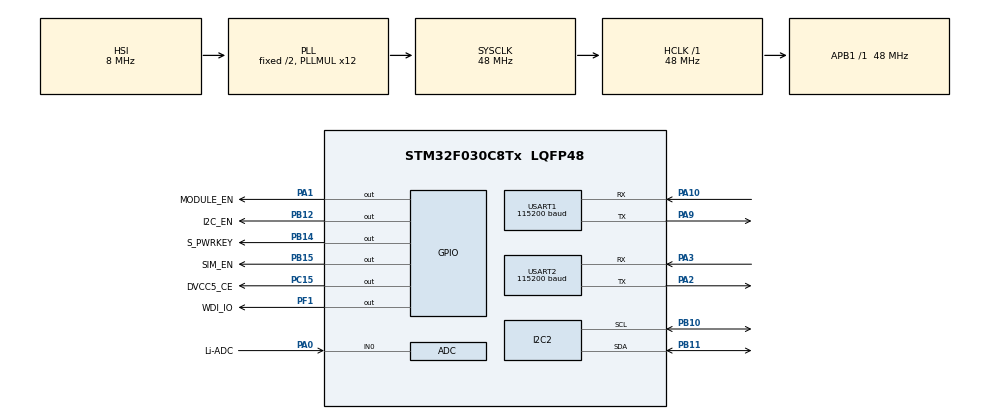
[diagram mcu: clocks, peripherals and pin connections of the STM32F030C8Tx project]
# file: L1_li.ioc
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Dma.Request0=USART2_RX
Dma.Request1=USART1_RX
Dma.USART1_RX.1.Direction=DMA_PERIPH_TO_MEMORY
Dma.USART1_RX.1.Instance=DMA1_Channel3
Dma.USART1_RX.1.MemDataAlignment=DMA_MDATAALIGN_BYTE
Dma.USART1_RX.1.MemInc=DMA_MINC_ENABLE
Dma.USART1_RX.1.Mode=DMA_CIRCULAR
Dma.USART1_RX.1.PeriphDataAlignment=DMA_PDATAALIGN_BYTE
Dma.USART1_RX.1.PeriphInc=DMA_PINC_DISABLE
Dma.USART1_RX.1.Priority=DMA_PRIORITY_MEDIUM
Dma.USART2_RX.0.Direction=DMA_PERIPH_TO_MEMORY
Dma.USART2_RX.0.Instance=DMA1_Channel5
Dma.USART2_RX.0.MemDataAlignment=DMA_MDATAALIGN_BYTE
Dma.USART2_RX.0.MemInc=DMA_MINC_ENABLE
Dma.USART2_RX.0.Mode=DMA_CIRCULAR
Dma.USART2_RX.0.PeriphDataAlignment=DMA_PDATAALIGN_BYTE
Dma.USART2_RX.0.PeriphInc=DMA_PINC_DISABLE
Dma.USART2_RX.0.Priority=DMA_PRIORITY_MEDIUM
I2C2.Timing=0x20303E5D
Mcu.Family=STM32F0
Mcu.Name=STM32F030C8Tx
Mcu.Package=LQFP48
NVIC.DMA1_Channel2_3_IRQn=true\:0\:0\:false
NVIC.DMA1_Channel4_5_IRQn=true\:0\:0\:false
NVIC.RTC_IRQn=true\:0\:0\:false
NVIC.TIM1_BRK_UP_TRG_COM_IRQn=true\:0\:0\:false
PA0.GPIO_Label=Li-ADC
PA0.GPIO_Mode=GPIO_MODE_ANALOG
PA0.GPIO_PuPd=GPIO_NOPULL
PA0.Mode=IN0
PA0.Signal=ADC_IN0
PA1.GPIO_Label=MODULE_EN
PA1.GPIO_ModeDefaultOutputPP=GPIO_MODE_OUTPUT_PP
PA1.GPIO_PuPd=GPIO_NOPULL
PA1.GPIO_Speed=GPIO_SPEED_LOW
PA1.Signal=GPIO_Output
PA10.Mode=Asynchronous
PA10.Signal=USART1_RX
PA13.Mode=Serial-WireDebug
PA13.Signal=SYS_SWDIO
PA14.Mode=Serial-WireDebug
PA14.Signal=SYS_SWCLK
PA2.Mode=Asynchronous
PA2.Signal=USART2_TX
PA3.Mode=Asynchronous
PA3.Signal=USART2_RX
PA9.Mode=Asynchronous
PA9.Signal=USART1_TX
PB10.Mode=I2C
PB10.Signal=I2C2_SCL
PB11.Mode=I2C
PB11.Signal=I2C2_SDA
PB12.GPIO_Label=I2C_EN
PB12.GPIO_ModeDefaultOutputPP=GPIO_MODE_OUTPUT_PP
PB12.GPIO_PuPd=GPIO_NOPULL
PB12.GPIO_Speed=GPIO_SPEED_LOW
PB12.Signal=GPIO_Output
PB14.GPIO_Label=S_PWRKEY
PB14.GPIO_ModeDefaultOutputPP=GPIO_MODE_OUTPUT_PP
PB14.GPIO_PuPd=GPIO_NOPULL
PB14.GPIO_Speed=GPIO_SPEED_LOW
PB14.Signal=GPIO_Output
PB15.GPIO_Label=SIM_EN
PB15.GPIO_ModeDefaultOutputPP=GPIO_MODE_OUTPUT_PP
PB15.GPIO_PuPd=GPIO_NOPULL
PB15.GPIO_Speed=GPIO_SPEED_LOW
PB15.Signal=GPIO_Output
PC15-OSC32_OUT.GPIO_Label=DVCC5_CE
PC15-OSC32_OUT.GPIO_ModeDefaultOutputPP=GPIO_MODE_OUTPUT_PP
PC15-OSC32_OUT.GPIO_PuPd=GPIO_NOPULL
PC15-OSC32_OUT.GPIO_Speed=GPIO_SPEED_LOW
PC15-OSC32_OUT.Signal=GPIO_Output
PF1-OSC_OUT.GPIO_Label=WDI_IO
PF1-OSC_OUT.GPIO_ModeDefaultOutputPP=GPIO_MODE_OUTPUT_PP
PF1-OSC_OUT.GPIO_PuPd=GPIO_NOPULL
PF1-OSC_OUT.GPIO_Speed=GPIO_SPEED_LOW
PF1-OSC_OUT.Signal=GPIO_Output
ProjectManager.TargetToolchain=MDK-ARM V4
RCC.AHBFreq_Value=48000000
RCC.APB1Freq_Value=48000000
RCC.APB1TimFreq_Value=48000000
RCC.HCLKFreq_Value=48000000
RCC.PLLMUL=RCC_PLL_MUL12
RCC.SYSCLKFreq_VALUE=48000000
RCC.SYSCLKSource=RCC_SYSCLKSOURCE_PLLCLK
RTC.AlarmMask=RTC_ALARMMASK_DATEWEEKDAY
TIM1.Period=99
TIM1.Prescaler=47
USART1.BaudRate=115200
USART2.BaudRate=115200
VP_RTC_VS_RTC_Alarm_A_Intern.Mode=Alarm A
VP_TIM1_VS_ClockSourceINT.Mode=Internal
board=L1_li

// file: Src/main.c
/**
  ******************************************************************************
  * File Name          : main.c
  * Description        : Main program body
  ******************************************************************************
  *
  * COPYRIGHT(c) 2015 STMicroelectronics
  *
  * Redistribution and use in source and binary forms, with or without modification,
  * are permitted provided that the following conditions are met:
  *   1. Redistributions of source code must retain the above copyright notice,
  *      this list of conditions and the following disclaimer.
  *   2. Redistributions in binary form must reproduce the above copyright notice,
  *      this list of conditions and the following disclaimer in the documentation
  *      and/or other materials provided with the distribution.
  *   3. Neither the name of STMicroelectronics nor the names of its contributors
  *      may be used to endorse or promote products derived from this software
  *      without specific prior written permission.
  *
  * THIS SOFTWARE IS PROVIDED BY THE COPYRIGHT HOLDERS AND CONTRIBUTORS "AS IS"
  * AND ANY EXPRESS OR IMPLIED WARRANTIES, INCLUDING, BUT NOT LIMITED TO, THE
  * IMPLIED WARRANTIES OF MERCHANTABILITY AND FITNESS FOR A PARTICULAR PURPOSE ARE
  * DISCLAIMED. IN NO EVENT SHALL THE COPYRIGHT HOLDER OR CONTRIBUTORS BE LIABLE
  * FOR ANY DIRECT, INDIRECT, INCIDENTAL, SPECIAL, EXEMPLARY, OR CONSEQUENTIAL
  * DAMAGES (INCLUDING, BUT NOT LIMITED TO, PROCUREMENT OF SUBSTITUTE GOODS OR
  * SERVICES; LOSS OF USE, DATA, OR PROFITS; OR BUSINESS INTERRUPTION) HOWEVER
  * CAUSED AND ON ANY THEORY OF LIABILITY, WHETHER IN CONTRACT, STRICT LIABILITY,
  * OR TORT (INCLUDING NEGLIGENCE OR OTHERWISE) ARISING IN ANY WAY OUT OF THE USE
  * OF THIS SOFTWARE, EVEN IF ADVISED OF THE POSSIBILITY OF SUCH DAMAGE.
  *
  ******************************************************************************
  */
#include "stm32f0xx_hal.h"
#include "adc.h"
#include "dma.h"
#include "i2c.h"
#include "rtc.h"
#include "tim.h"
#include "usart.h"
#include "gpio.h"

/* USER CODE BEGIN Includes */

#include "Console.h"
#include "Tick.h"
#include "Thread.h"
#include "FPE.h"
#include "DelayCall.h"
#include "Button.h"
#include "CJSON.h"

#include "sim808.h"
#include "control.h"
#include "fpe.h"

#include "stdlib.h" //malloc
#include "math.h"  //fmin fmax

#include "md5.h"
/* USER CODE END Includes */

/* USER CODE BEGIN PV */
/* Private variables ---------------------------------------------------------*/

uint8_t g_main_consoleBuffer[0x100];
uint8_t g_main_dustBuffer[8];
uint8_t g_main_cmdBuffer[64];
float g_main_start_battery_voltage=0;      //2015-12-7, locate in line 161, before pm25,sim808 start.
float g_main_end_battery_voltage=0;        //2015-12-7 ,locate in 'do_sleep' function, after pm25,sim808 stop.
float g_main_battery_voltage=0;
int g_main_charge_flag = 0;

char defaultId[] = "L1";
char deviceId[(32+16)]={0};

uint8_t g_main_uid[8] = {0};
char g_main_uid_suffix[5] = {0};

#define NUMBER_APN_INFO_LENGTH_MAX 17
char g_main_apn[NUMBER_APN_INFO_LENGTH_MAX] = {0};
char g_main_user[NUMBER_APN_INFO_LENGTH_MAX] = {0};
char g_main_pass[NUMBER_APN_INFO_LENGTH_MAX] = {0};
uint8_t g_main_setApnMask = 0;

/* USER CODE END PV */

void SystemClock_Config(void);

/* USER CODE BEGIN PFP */
/* Private function prototypes -----------------------------------------------*/

void battery_update(void);
void feedExdog(void);
void startAlarm(uint16_t second);
void enable_pm2d5(void);
void disable_pm2d5(void);
void update_gps(void);
void check_gprs(void);

void check_action_if_done(void);
void println(char* string);

static inline void ME2139_init(void);
//char *sim808_jsoninfo_creat(void);
static inline void pm2d5_receive_int(void);
void sim808_update(void);
void pm25_update(void);
void do_sleep(void);
void check_sleep(void);

void hts221_init(void);
void th_check_end(void);
void th_update(void);
static void hts221_enable(void);
static void hts221_disable(void);
void newUploadInterval_init(void);
void battery_charge_start_test(int times, uint32_t delay);

void optData2Usart2(void);
void updateSim808Status(void);

#define DEVICE_VERSION "L1" //20161123 changed
#define FPE_UID_ADDRESS 0x00110000

/* USER CODE END PFP */

/* USER CODE BEGIN 0 */

bool g_main_gps_updated = false;
bool g_main_pm25_stable = false;
bool g_main_startSleep = false;

//20160601
bool g_main_sim808_inited = false;
//20160601

bool g_main_gps_got = false;
bool g_main_http_action_got = false;
bool g_main_http_action_done = false;

//char* g_main_udpAddressDefault = "hwlantian.com";//"172.28.50.1";//
char* g_main_udpAddressDefault = "sensor.new.hwlantian.com";//"172.28.50.1";//  20161123 new server
char* g_main_udpAddress = NULL;
uint16_t g_main_udpPortDefault = 59830;
uint16_t g_main_udpPort = 0;

uint32_t g_main_uploadDataInterval = UPLOAD_DATA_INTERVAL_MS;

typedef struct
{
	uint32_t batteryFlag;

	uint32_t uploadInterval;
	uint32_t uploadIntervalEnsure;

	double longitude;
	double latitude;
	double gpsTime;
	uint32_t gpsDataEnsure;
	uint32_t gpsNotUpdateCnt;

//	Sim900aStatus_t sim900aStatus;
}flashStored_Info_t;

flashStored_Info_t g_flashStored_Info =
{
	.batteryFlag = RANGE_START_BATTERY_LOW,
	.uploadInterval = 1000,
	.uploadIntervalEnsure = 0,	//not ensured, ensure -> 0x0a0a
	.longitude = 0,
	.latitude = 0,
	.gpsTime = 0,
	.gpsDataEnsure = 0,
	.gpsNotUpdateCnt = 0,

};

volatile float g_main_temperature = 0;
volatile float g_main_humidity = 0;
int32_t g_main_pm25 = 0;
int g_main_uploadTime = 0;

void loadFlashData(void)
{

	g_flashStored_Info.batteryFlag = fpe_read(ADDRESS_BATTERY_RANGE);

	g_flashStored_Info.uploadInterval = fpe_read(ADDRESS_UPLOAD_INTERVAL_VALUE);
	g_flashStored_Info.uploadIntervalEnsure = fpe_read(ADDRESS_UPLOAD_INTERVAL_ENSURE);

	g_flashStored_Info.longitude = fpe_read(ADDRESS_VALUE_GPS_LONGITUDE)/1000000.0;
	g_flashStored_Info.latitude = fpe_read(ADDRESS_VALUE_GPS_LATITUDE)/1000000.0;
	g_flashStored_Info.gpsTime = fpe_read(ADDRESS_VALUE_GPS_GPSTIME1)*1000000.0 + fpe_read(ADDRESS_VALUE_GPS_GPSTIME2);
	g_flashStored_Info.gpsDataEnsure = fpe_read(ADDRESS_GPS_UPDATED_ENSURE);
	g_flashStored_Info.gpsNotUpdateCnt = fpe_read(ADDRESS_CNT_GPS_NOUPDATE_TIME);
}

#define getSetting(name) (name?name:name##Default)
void mainThread(void)
{

	sim808_Info_t sim808_Info = sim808_GetInfo();

//		( (g_main_pm25_stable || tick_ms()>MAX_PM25_MS)	&& ( g_main_gps_updated || tick_ms()>MAX_GPS_MS) )
	if( !(//wait gps new data until timeout,when time out,we use data in flash if exist
		( (g_main_pm25_stable || tick_ms()>MAX_PM25_MS)	&& ( sim808_Info.gpsUpdated || tick_ms()>MAX_GPS_MS) )\
	||(tick_ms()>MAX_WAKE_MS -20000)
	) )
	{
		return;
	}

	//th_update();

	cJSON* json = cJSON_CreateObject();
	if (json)
	{
		deviceId[0] = '\0';
		sprintf(deviceId,"L1");  //2015-12-7
		if(strlen(g_main_uid_suffix))
		{
			sprintf(deviceId,"L1-");  //2015-12-7
			for (uint8_t i=0; i<8; i++)
			{
				sprintf(deviceId+strlen(deviceId),"%02x", g_main_uid[i]);  //2015-12-7
			}
			sprintf(deviceId+strlen(deviceId),"%.4s", g_main_uid_suffix);  //2015-12-7
		}

		cJSON_AddStringToObject(json,"devId",deviceId);
		cJSON_AddStringToObject(json,"ver",DEVICE_VERSION);

		cJSON_AddNumberToObject(json,"pm2d5",g_main_pm25/100.0);
		cJSON_AddNumberToObject(json,"temp",g_main_temperature);
		cJSON_AddNumberToObject(json,"hum",g_main_humidity);

		if (g_main_gps_updated)
		{
			cJSON_AddNumberToObject(json,"lon",(float)sim808_Info.longitude);
			cJSON_AddNumberToObject(json,"lat",(float)sim808_Info.latitude);
			cJSON_AddNumberToObject(json,"timestamp",sim808_Info.gpsTime);
		}
		cJSON_AddNumberToObject(json,"start_charge",g_main_start_battery_voltage); //2016-1-18
		cJSON_AddNumberToObject(json,"systemTick",tick_ms());

		char * str = cJSON_PrintUnformatted(json);
		cJSON_Delete(json);

		if (str)
		{
			uint16_t length = strlen(str);
			char* buffer = malloc(length+3);//20160808
			if (buffer)
			{
				sprintf(buffer,"%s\n%c",str,0x1a);//20160808
				char* address = getSetting(g_main_udpAddress);//?g_main_udpAddress:g_main_udpAddressDefault;
				uint16_t port = getSetting(g_main_udpPort);//g_main_udpPort!=0?g_main_udpPort:g_main_udpPortDefault;
				sim808_udp(buffer,address,port);
				free(buffer);
			}
			free(str);
		}
	}

}

static void updateStringSetting(char* value, char** pCurrent)
{
	if (*pCurrent)
	{
		free(*pCurrent);
	}
	if (strlen(value) == 0)
	{
		*pCurrent = NULL;
	}
	else
	{
		char* copy = malloc(strlen(value)+1);
		if (copy)
		{
			strcpy(copy,value);
			*pCurrent = copy;
		}
	}
}

void sim808_HandleResponse(void)
{
	char* receive = sim808_getReceiveString();
//	if (!receive)
//	{
//		if(tick_ms() - g_main_lastWifiTick < (UINT32_MAX>>1))
//		{
//			if (!esp8266_smarting())
//			{
//				esp8266_reset();
//				g_main_lastWifiTick = tick_ms() + RESET_WHILE_NO_DATEGET;
//			}
//		}
//	}
//	else
//	{
//		g_main_lastWifiTick = tick_ms() + RESET_WHILE_NO_DATEGET;
//	}
	if (receive)
	{
		cJSON* json = cJSON_Parse(receive);
		if(json)
		{
//			g_main_lastResponseTick = tick_ms();
			cJSON* child;
			child = cJSON_GetObjectItem(json,"udpAddress");
			if (child)
			{
				updateStringSetting(child->valuestring, &g_main_udpAddress);
			}
			child = cJSON_GetObjectItem(json,"udpPort");
			if (child)
			{
				g_main_udpPort = child->valueint;
			}

			child = cJSON_GetObjectItem(json,"setInterval");
			uint32_t interval = 0;
			if (child)
			{
				interval = child->valueint;//1 to 10s
			}
			if (interval>1000)
			{
//				interval = interval*SERVER_INTERVAL_MULTIPLE; //server unit (s) to  local unit (ms)
				if (interval != g_main_uploadDataInterval)// || g_main_wifi_status != WIFI_CONNECT)
				{
					g_main_uploadDataInterval = interval;
					fpe_write(ADDRESS_UPLOAD_INTERVAL_VALUE, ( interval ) );
					fpe_write(ADDRESS_UPLOAD_INTERVAL_ENSURE, FLAG_FLASH_DATA_ENSURE);

				//	g_main_wifi_getDelay = 5000;
				//	g_main_wifi_triggerTick = tick_ms()+g_main_uploadDataInterval+g_main_wifi_getDelay;
				}
			}
			cJSON_Delete(json);
		}
		free(receive);

		g_main_startSleep = true;	//set system to sleep mode
	}
}

void sim808_UpdateGPS(void)
{

//	if(g_main_gps_updated==true || g_main_gps_got == true || tick_ms()>MAX_GPS_MS)
//	{
//		return;
//	}

uint32_t tick = tick_ms();
	uint32_t compare = MAX_GPS_MS;
	if(tick>MAX_GPS_MS)
	{
		return;
	}

	sim808_Info_t sim808_Info = sim808_GetInfo();

	if(sim808_Info.gpsUpdated) //no need to update,so we just return
	{
		g_main_gps_updated = true;
		return;
	}

	uint32_t gpsMaxIntervalCnt = GPS_INTERVAL_MS/g_main_uploadDataInterval;	//updated by main work interval, 1 time cnt++;

	uint32_t gpsNotUpdateCnt = g_flashStored_Info.gpsNotUpdateCnt;
	uint32_t gpsDataEnsure = g_flashStored_Info.gpsDataEnsure;

	if(gpsDataEnsure == FLAG_FLASH_DATA_ENSURE)
	{
//		sim808_Info_t sim808_Info;

		sim808_Info.gpsTime = g_flashStored_Info.gpsTime;
		sim808_Info.latitude = g_flashStored_Info.latitude;
		sim808_Info.longitude = g_flashStored_Info.longitude;
		if(gpsNotUpdateCnt < gpsMaxIntervalCnt) //data not need update
		{
			sim808_Info.gpsUpdated = true;
		}
		else	//data need update,not update time over GPS_INTERVAL_MS,but before data update,we still use old data
		{
			sim808_Info.gpsUpdated = false;
		}
		sim808_SetGpsInfo(sim808_Info);
		g_main_gps_updated = true; //use  data in flash,although maybe outdate,we may can't get new gps data
	}

//	sim808_Info = sim808_GetInfo();

	if(!sim808_Info.gpsUpdated)
	{
		sim808_UpdateGPSStatus();

		sim808_Info = sim808_GetInfo();

		if(sim808_Info.gpsUpdated)
		{
					/*handle, save gps value if it had been got, value is mutiplied by 1000000 to convert to uint32_t. */
			fpe_write(ADDRESS_VALUE_GPS_LATITUDE, sim808_Info.latitude*1000000);
			fpe_write(ADDRESS_VALUE_GPS_LONGITUDE, sim808_Info.longitude*1000000);
	//		fpe_write(0x011c, g_main_time);
			__IO uint32_t gpsTimePart1 = (sim808_Info.gpsTime)/1000000;
			fpe_write(ADDRESS_VALUE_GPS_GPSTIME1, gpsTimePart1);
			__IO uint32_t gpsTimePart2 = sim808_Info.gpsTime - 1000000*gpsTimePart1;
			fpe_write(ADDRESS_VALUE_GPS_GPSTIME2, gpsTimePart2 );

			fpe_write(ADDRESS_GPS_UPDATED_ENSURE, FLAG_FLASH_DATA_ENSURE); //ensure flash data is ok

			//
			gpsNotUpdateCnt = 0;
			fpe_write(ADDRESS_CNT_GPS_NOUPDATE_TIME, gpsNotUpdateCnt);

			loadFlashData();
			/*end save.*/
		}
	}

//	if(sim808_Info.gpsUpdated)
//	{
//		g_main_gps_updated = true;
//	}

}

uint8_t g_main_factoryMode = 1;
console_t* g_mainConsole = NULL;
void reset(consoleCommand_t* cc)
{
	//console_deleteCommand(cc);
	NVIC_SystemReset();
}

void consoleStuff(void)
{
//	if (tick_ms()<8000 || g_main_factoryMode)
	if (tick_ms()<8000)
	{
		console_tick();
		console_run();
		if(console_clearAllCommand(g_mainConsole))
		{
			//TransmitString("Command error\r\n");
		}

	}
	else
	{
		HAL_UART_DMAStop(&huart2);
		HAL_UART_Receive_DMA(&huart2,g_main_dustBuffer,sizeof(g_main_dustBuffer));
		enable_pm2d5();
		g_main_factoryMode = 0;
	}

}

static void TransmitChar(char ch)
{
	USART2->TDR = (ch & (uint8_t)0xFF);
	while((USART2->ISR&UART_FLAG_TC)==0)
		;
}
void TransmitString(char * input)
{
	while(1)
	{
		char ch = *(input++);
		if (ch == '\0')
		{
			break;
		}
		TransmitChar(ch);
	}
}
void TransmitBytes(uint8_t *buffer, uint16_t size)
{
	for( uint16_t i = 0; i<size; i++)
	{
		uint8_t ch = *(buffer+i);
		TransmitChar(ch);
	}
}
void TransmitDec(uint32_t input)
{
	uint32_t quotient = 0;
	uint32_t divisor = 1000000000UL;
	uint8_t RightJustfy = 1;
	uint8_t showFirstZeros = 0;
	while(divisor>0)
	{
		quotient = (input)/divisor;
		if (quotient>0 || divisor == 1 || RightJustfy)
		{
			char ch = quotient + '0';
			if ((!showFirstZeros && quotient == 0) && divisor != 1)
			{
				ch = 0x20;
			}
			else
			{
				showFirstZeros = 1;
			}
			TransmitChar(ch);
			input -= quotient*divisor;
			RightJustfy = 1;
		}
		divisor/=10;
	}
}
void TransmitHex(uint32_t input)
{
	for (uint16_t i = 0; i<8; i++)
	{
		uint8_t index;
		index = (input >> ((7-i)<<2))&0x0f;
		uint8_t ch;
		if(index >9)
		{
			ch = index - 10 + 'A';
		}
		else
		{
			ch = index + '0';
		}
		TransmitChar(ch);
	}
}

void factoryMode(consoleCommand_t* cc)
{
	stringList_t* sl = cc->first;
	if (sl &&sl->next)
	{
		uint32_t value = atol(sl->next->string);
		g_main_factoryMode = value;

	}
	TransmitString("factoryMode: ");
	TransmitHex(g_main_factoryMode);
	//TransmitHex(g_correctThreshold);
	TransmitString("\n");
}

void factorySetUid(consoleCommand_t* cc)
{
	stringList_t* sl = cc->first;
	if (sl &&sl->next)
	{

		if (sl->next->string[0] == '?')
		{
			for (uint8_t i=0 ; i<8 ; i++)
			{
				g_main_uid[i]=fpe_readOr(FPE_FACTORY_UID+i,0);
			}
			uint32_t id[2] = {0};
			for(uint8_t i=0; i<2; i++)
			{
				id[i] = (g_main_uid[i*4]<<24)+(g_main_uid[i*4+1]<<16)+(g_main_uid[i*4+2]<<8)+(g_main_uid[i*4+3]<<0);
			}
			TransmitHex(id[0]);
			TransmitHex(id[1]);
//			TransmitBytes(g_main_uid,8);
			TransmitString("\n");
		}
		else if (strlen(sl->next->string) == 16)
		{

			uint8_t idBuffer[16];
			MD5_CTX md5;
			MD5Init(&md5);
			MD5Update(&md5,(unsigned char *)(sl->next->string),strlen(sl->next->string));
//			MD5Update(&md5,(unsigned char *)(idString),strlen(idString));
			MD5Final(&md5,idBuffer);
//			strcpy(g_main_uid_suffix,sl->next->string);
			for (uint8_t i=4 ; i<12 ; i++)
			{
				fpe_write(FPE_FACTORY_UID+i-4,idBuffer[i]);

			}
			for (uint8_t i =0;i<4;i++)
			{
				fpe_write(FPE_FACTORY_UID_STRING+i,*((sl->next->string)+i+12));
				g_main_uid_suffix[i] = *((sl->next->string)+i+12);
			}
			for (uint8_t i=0 ; i<8 ; i++)
			{
				g_main_uid[i] = idBuffer[i+4];
			}

			TransmitString("uidReceived:");
			TransmitString(sl->next->string);
			TransmitString("\n");
		//	fpe_write(FPE_FACTORY_UID+1,g_main_uid);
		}

		//TransmitHex(g_correctThreshold);

	}
	//console_deleteCommand(cc);
}

void factorySetAPN(consoleCommand_t* cc)
{
	stringList_t* sl = cc->first;
	uint8_t lenAPN = strlen(sl->next->string);
	uint8_t lenUser = strlen(sl->next->next->string);
	uint8_t lenPass = strlen(sl->next->next->next->string);
	if(lenAPN==1 && sl->next->string[0]=='0')
	{
		fpe_write(FPE_CUSTOM_APN,0);
	}
	if(lenUser==1 && sl->next->next->string[0]=='0')
	{
		fpe_write(FPE_CUSTOM_USER,0);
	}
	if(lenPass==1 && sl->next->next->next->string[0]=='0')
	{
		fpe_write(FPE_CUSTOM_PASS,0);
	}
	if (sl &&sl->next && lenAPN<NUMBER_APN_INFO_LENGTH_MAX && lenAPN>1)
	{
		fpe_writeString(FPE_CUSTOM_APN,sl->next->string);
		for(uint8_t i=0; i<lenAPN; i++)
		{
			g_main_apn[i] = sl->next->string[i];
		}
	}
	if(sl &&sl->next->next && lenUser<NUMBER_APN_INFO_LENGTH_MAX  && lenUser>1)
	{
		fpe_writeString(FPE_CUSTOM_USER ,sl->next->next->string);
		for(uint8_t i=0; i<lenUser; i++)
		{
			g_main_user[i] = sl->next->next->string[i];
		}
	}
	if(sl &&sl->next->next->next && lenPass<NUMBER_APN_INFO_LENGTH_MAX  && lenPass>1)
	{
		fpe_writeString(FPE_CUSTOM_PASS,sl->next->next->next->string);
		for(uint8_t i=0; i<lenPass; i++)
		{
			g_main_pass[i] = sl->next->next->next->string[i];
		}
	}
}

void LoadId(void)
{
	for (uint8_t i=0 ; i<8 ; i++)
	{
		g_main_uid[i]=fpe_readOr(FPE_FACTORY_UID+i,0);
//		g_main_uid[i]=fpe_read(FPE_FACTORY_UID+i);
	}

	for (uint8_t i=0 ; i<4 ; i++)
	{
		g_main_uid_suffix[i]=fpe_readOr(FPE_FACTORY_UID_STRING+i,'\0');
//		g_main_uid_suffix[i]=fpe_read(FPE_FACTORY_UID_STRING+i);
	}
//	g_main_uid_suffix[4] = '\0';
}
/* USER CODE END 0 */

int main(void)
{

  /* MCU Configuration----------------------------------------------------------*/

  /* Reset of all peripherals, Initializes the Flash interface and the Systick. */
  HAL_Init();

  /* Configure the system clock */
  SystemClock_Config();

	if (__HAL_PWR_GET_FLAG(PWR_FLAG_SB) != RESET)    //检查AD标志
  {
    __HAL_PWR_CLEAR_FLAG(PWR_FLAG_SB);    //清除标志位
  }

     /* Initialize all configured peripherals */
  MX_GPIO_Init();
  MX_DMA_Init();
  MX_ADC_Init();
  MX_I2C2_Init();
  MX_RTC_Init();
  MX_TIM1_Init();
  MX_USART1_UART_Init();
  MX_USART2_UART_Init();

  /* USER CODE BEGIN 2 */

	ME2139_init();

	tick_init(&htim1);
	thread_init(0,tick_ms());  //开启毫秒级的线程？
//	g_main_console = console_init(&huart1,g_main_consoleBuffer,sizeof(g_main_consoleBuffer));
	fpe_init(62,63); //初始化FLASH
	thread_quickAdd(0,delayCall_run,1,0,0);  //线程加入 延时  1毫秒
	tick_add(delayCall_tick,10);
	tick_start();

	LoadId();

	delayCall_call(feedExdog,1000,150,1);////////////*******************************annotate this in 2015-12-15.*************************///////////////
	delayCall_call(optData2Usart2,1000,350,1);////////////*******************************move this in 2015-12-15.*************************///////////////
	//看门狗程序   1秒喂狗

//检测电池电压.
	battery_charge_start_test(20,10); //2015-12-7. //2016-11-24 chagne(20,100)->(20,10)
//	printf("%f",g_main_start_battery_voltage);

//***********************2015-12-10 charge code start*****************************//
	if(g_main_start_battery_voltage < RANGE_START_BATTERY_LOW)
	{
		fpe_write(ADDRESS_BATTERY_RANGE, RANGE_START_BATTERY_LOW);
	}
	else if(g_main_start_battery_voltage > RANGE_START_BATTERY_NORMAL)
	{
		fpe_write(ADDRESS_BATTERY_RANGE, RANGE_START_BATTERY_NORMAL);
	}

	loadFlashData(); //20160809
	if(g_flashStored_Info.uploadIntervalEnsure == FLAG_FLASH_DATA_ENSURE)
	{
		g_main_uploadDataInterval = g_flashStored_Info.uploadInterval;
	}
	if( g_flashStored_Info.batteryFlag == RANGE_START_BATTERY_LOW )
	{
		do_sleep();
	}

	pm2d5_receive_int();
//	enable_pm2d5();

	thread_quickAdd(0,pm25_update,1000,0,0);////////////*******************************move this in 2015-12-15.*************************///////////////
//	HAL_Delay(1000);
	hts221_enable();//I2C enable.
//	while(1);
	HAL_Delay(100);//wait to set PB12 port high to enable I2C, this delay is integrant !!!.等待PB12 拉高使能I2C
	hts221_init();//hts221.
	HAL_Delay(100);
	thread_quickAdd(0,th_update,1000,0,0);////////////*******************************move this in 2015-12-15.*************************///////////////

//	newUploadInterval_init();
	fpe_readString(FPE_CUSTOM_APN, g_main_apn, NUMBER_APN_INFO_LENGTH_MAX);
	fpe_readString(FPE_CUSTOM_USER, g_main_user, NUMBER_APN_INFO_LENGTH_MAX);
	fpe_readString(FPE_CUSTOM_PASS, g_main_pass, NUMBER_APN_INFO_LENGTH_MAX);

	sim808_init(&huart1);//wait to init successfully.
	//setUid

	g_mainConsole = console_init( &huart2,g_main_cmdBuffer,sizeof(g_main_cmdBuffer));
	console_addListener(g_mainConsole,"reset",reset,0);
	console_addListener(g_mainConsole,"factoryMode",factoryMode,0);
	console_addListener(g_mainConsole,"uid",factorySetUid,0);
	console_addListener(g_mainConsole,"apn",factorySetAPN,0);
	console_printf(g_mainConsole,"systemStart\r\n");
	console_clearAllCommand(g_mainConsole);

	thread_quickAdd(0,sim808_HandleResponse,100,0,0);
	thread_quickAdd(0,sim808_UpdateGPS,1000,0,0);			//更新 gps
	thread_quickAdd(0,sim808_UpdateStatus,1000,0,0);		//根据电池电压 检查是否 进入睡眠状态. 电压低于 3.4 V 进入睡眠状态.//是否上传成功，若成功 ，则进入休眠.
	thread_quickAdd(0,mainThread,5000,0,0);
	thread_quickAdd(0,sim808_run,10,0,0);

	thread_quickAdd(0,consoleStuff,10,0,0);

	thread_quickAdd(0,feedExdog,500,0,0);////////////*******************************annotate this in 2015-12-15.*************************///////////////
//看门狗
//	thread_quickAdd(0,pm25_update,1000,0,0);
	thread_quickAdd(0,check_sleep,1000,0,0);		//根据电池电压 检查是否 进入睡眠状态. 电压低于 3.4 V 进入睡眠状态.//是否上传成功，若成功 ，则进入休眠.
//	thread_quickAdd(0,update_gps,1000,0,0);			//更新 gps
//	thread_quickAdd(0,check_gprs,1000,0,0);			//检查gprs状态，是否开始上传数据.
	thread_quickAdd(0,battery_update,1000,0,0);		//更新 电池电压数值.
	//thread_quickAdd(0,check_action_if_done,10,0,0);		//检查数据是否上传成功.
//	thread_quickAdd(0,th_update,1000,0,0);

  /* USER CODE END 2 */

  /* Infinite loop */
  while (1)
  {

  /* USER CODE BEGIN 3 */
		thread_run(0,tick_ms(),0,0);
  }
  /* USER CODE END 3 */

}

/** System Clock Configuration
*/
void SystemClock_Config(void)
{

  RCC_OscInitTypeDef RCC_OscInitStruct;
  RCC_ClkInitTypeDef RCC_ClkInitStruct;
  RCC_PeriphCLKInitTypeDef PeriphClkInit;

  RCC_OscInitStruct.OscillatorType = RCC_OSCILLATORTYPE_HSI|RCC_OSCILLATORTYPE_HSI14
                              |RCC_OSCILLATORTYPE_LSI;
  RCC_OscInitStruct.HSIState = RCC_HSI_ON;
  RCC_OscInitStruct.HSI14State = RCC_HSI14_ON;
  RCC_OscInitStruct.HSICalibrationValue = 16;
  RCC_OscInitStruct.HSI14CalibrationValue = 16;
  RCC_OscInitStruct.LSIState = RCC_LSI_ON;
  RCC_OscInitStruct.PLL.PLLState = RCC_PLL_ON;
  RCC_OscInitStruct.PLL.PLLSource = RCC_PLLSOURCE_HSI;
  RCC_OscInitStruct.PLL.PLLMUL = RCC_PLL_MUL12;
  RCC_OscInitStruct.PLL.PREDIV = RCC_PREDIV_DIV1;
  HAL_RCC_OscConfig(&RCC_OscInitStruct);

  RCC_ClkInitStruct.ClockType = RCC_CLOCKTYPE_SYSCLK;
  RCC_ClkInitStruct.SYSCLKSource = RCC_SYSCLKSOURCE_PLLCLK;
  RCC_ClkInitStruct.AHBCLKDivider = RCC_SYSCLK_DIV1;
  RCC_ClkInitStruct.APB1CLKDivider = RCC_HCLK_DIV1;
  HAL_RCC_ClockConfig(&RCC_ClkInitStruct, FLASH_LATENCY_1);

  PeriphClkInit.PeriphClockSelection = RCC_PERIPHCLK_USART1|RCC_PERIPHCLK_RTC;
  PeriphClkInit.Usart1ClockSelection = RCC_USART1CLKSOURCE_PCLK1;
  PeriphClkInit.RTCClockSelection = RCC_RTCCLKSOURCE_LSI;
  HAL_RCCEx_PeriphCLKConfig(&PeriphClkInit);

  HAL_SYSTICK_Config(HAL_RCC_GetHCLKFreq()/1000);

  HAL_SYSTICK_CLKSourceConfig(SYSTICK_CLKSOURCE_HCLK);

}

/* USER CODE BEGIN 4 */

char *test_js;//just to test.

void battery_charge_start_test(int times, uint32_t delay)
{
	for(int i=0; i<times; i++)
	{
		battery_update();
		g_main_start_battery_voltage += g_main_battery_voltage;
		HAL_Delay(delay);
	}
	g_main_start_battery_voltage = g_main_start_battery_voltage/times ;
}

void optData2Usart2(void)
{

	if (g_main_factoryMode== 0)
	{
		sim808_Info_t sim808_Info = sim808_GetInfo();

	//		char str[255]={0};
	//		if(sim808_Info.idUpdated )
	//		{
	//			sprintf(str+strlen(str), "id:");
	//			sprintf(str+strlen(str), "%s", sim808_Info.IMEI_number);
	//			sprintf(str+strlen(str), ",");
	//		}
	//		sprintf(str+strlen(str), "pm25:");
	//		sprintf(str+strlen(str), "%ld", g_main_pm25);
	//		sprintf(str+strlen(str), ",");
	//		sprintf(str+strlen(str), "temp:");
	//		sprintf(str+strlen(str), "%f", g_main_temperature);
	//		sprintf(str+strlen(str), ",");
	//		sprintf(str+strlen(str), "wet:");
	//		sprintf(str+strlen(str), "%f", g_main_humidity);
	//		sprintf(str+strlen(str), ",");
	//		sprintf(str+strlen(str), "charge:");
	//		sprintf(str+strlen(str), "%f", g_main_battery_voltage);
	//		sprintf(str+strlen(str), ",");
	//		sprintf(str+strlen(str), "\r\n");

		cJSON* json = cJSON_CreateObject();
		if (json)
		{
			deviceId[0] = '\0';
			sprintf(deviceId,"L1");  //2015-12-7
			if(strlen(g_main_uid_suffix))
			{
				sprintf(deviceId,"L1-");  //2015-12-7
				for (uint8_t i=0; i<8; i++)
				{
					sprintf(deviceId+strlen(deviceId),"%02x", g_main_uid[i]);  //2015-12-7
				}
				sprintf(deviceId+strlen(deviceId),"%.4s", g_main_uid_suffix);  //2015-12-7
			}
			cJSON_AddStringToObject(json,"devId",deviceId);
			cJSON_AddNumberToObject(json,"lat",sim808_Info.latitude);
			cJSON_AddNumberToObject(json,"lon",sim808_Info.longitude);

//			if(sim808_Info.idUpdated )
//			{
//				cJSON_AddStringToObject(json,"devId",sim808_Info.IMEI_number);
//				cJSON_AddNumberToObject(json,"lat",sim808_Info.latitude);
//				cJSON_AddNumberToObject(json,"lon",sim808_Info.longitude);
//			}
			cJSON_AddNumberToObject(json,"pm2d5", g_main_pm25/100.0);

			cJSON_AddNumberToObject(json,"co2",1);
			cJSON_AddNumberToObject(json,"ch2o",1);

			cJSON_AddNumberToObject(json,"temp",g_main_temperature);
			cJSON_AddNumberToObject(json,"hum",g_main_humidity);

	//		cJSON_AddNumberToObject(json,"systemTick",tick_ms());

			char * str = cJSON_PrintUnformatted(json);
			cJSON_Delete(json);

			if(str)
			{
				uint16_t length = strlen(str);
	//			char* buffer = malloc(length+3);
	//			if (buffer)
	//			{
	//				sprintf(buffer,"%s\r\n",str);
	//				HAL_UART_Transmit(&huart2, (uint8_t *)buffer, length, 1000);
	//				free(buffer);
	//			}
				HAL_UART_Transmit(&huart2, (uint8_t *)str, length, 1000);
				HAL_UART_Transmit(&huart2, (uint8_t *)"\r\n", 2, 1000);
				free(str);
			}
		}
	}
		//cJSON_Delete(js);
	//}
}

static inline uint32_t pm25_getValue(void)
{

	if (g_main_factoryMode== 0)
	{

		uint8_t data[sizeof(g_main_dustBuffer)];                           //uint8_t
		int temp=0;
		uint8_t sum=0;                                                     //same type with data[].
		uint32_t value=0;
		for (int i=0;i<sizeof(g_main_dustBuffer);i++)
		{
			data[i]=g_main_dustBuffer[i];

		}
		for (int i=0;i<sizeof(g_main_dustBuffer);i++)
		{
			if (data[i] == 0xaa)
			{
				if (data[(i+6)&0x07]==0xff)
				{
						for (int j=0;j<4;j++)
					{
						sum += data[(i+j+1)&0x07];
						value += data[(i+j+1)&0x07]<<(j<<3);                              //(8*j)==(j<<3)
					}

					if (sum==data[(i+5)&0x07])
					{
						return value;
					}
				}

			}
		}

	}
	return 0;

//	uint8_t data[sizeof(g_main_dustBuffer)];                           //uint8_t
//	int temp=0;
//	uint8_t sum=0;                                                     //same type with data[].
//	uint32_t value=0;
//	for (int i=0;i<sizeof(g_main_dustBuffer);i++)
//	{
//		data[i]=g_main_dustBuffer[i];
//	}
//
//	if(data[0]!=0xaa)
//	{
//		for(int i=0;i<sizeof(g_main_dustBuffer);i++)
//		{
//			if(data[i]==0xaa)
//				temp=i;
//		}
//		for(int i=0;i<sizeof(g_main_dustBuffer);i++)
//		{
//			if (temp+i<sizeof(g_main_dustBuffer))
//			{
//				data[i]=g_main_dustBuffer[temp+i];
//			}
//			else
//			{
//				data[i]=g_main_dustBuffer[temp+i-sizeof(g_main_dustBuffer)];
//			}
//		}
//	}

//	if (data[0]==0xaa&&data[6]==0xff)                                        //desert bad datas.
//	{
//		for (int j=0;j<4;j++)
//		{
//			sum += data[j+1];
//			value += data[j+1]<<(j<<3);                              //(8*j)==(j<<3)
//		}
//
//		if (sum==data[5])
//		{
//			return value;
//		}
//	}
//	return 0;
}

void pm25_update(void)
{

//				g_main_pm25_stable = true;
//	return;
	if(g_main_factoryMode)
		{
			return;
		}
	if(g_main_pm25_stable==true || tick_ms()>MAX_PM25_MS)
	{
		return;
	}

	if (!g_main_pm25_stable)
	{
		int32_t value = pm25_getValue();

#ifdef STRICT_PM25_STABLE_VALUE
		if (value !=0)
		{
			g_main_pm25 = g_main_pm25 + (value-g_main_pm25) * PM25_STABLE_ACCURRACY;
//			if (g_main_pm25>=value && (g_main_pm25-value) < g_main_pm25 * 0.05)
			if (g_main_pm25>=value && (g_main_pm25-value) < g_main_pm25 * 0.1)
			{
				g_main_pm25_stable = true;

				disable_pm2d5();
				hts221_disable(); //////////////2016-1-12.

			}
		}
#endif
#ifdef WITHOUT_PM25_VALUE
		{
			{
				g_main_pm25_stable = true;
				disable_pm2d5();

				hts221_disable(); //////////////2016-1-12.

			}
		}
#endif

		printf("pm2.5 = %f  and  value = %f.  ",g_main_pm25/100.0,value/100.0);
		printf("start_charge: %f.\t",g_main_start_battery_voltage);  //2015-12-10.
		printf("temp = %f  and  hum = %f. \t",g_main_temperature, g_main_humidity);   // Do use cautiously with printf("\r\n"), or you will get 'error'.
		printf("%d,%ld\t",g_flashStored_Info.gpsNotUpdateCnt, g_main_uploadDataInterval);   // Do use cautiously with printf("\r\n"), or you will get 'error'.
		HAL_Delay(10); //2015-12-2.

	}//end if(!g_main_pm25_stable)

}//end function_pm25_update.

void println(char* string)  //no use.
{
//	int length = sizeof(string);
	uint8_t transChar[256] = {0};
	sprintf((char*)transChar, "%s\r\n", string);
	HAL_UART_Transmit(&huart1,transChar,strlen((char*)transChar),1000);
}

static inline void ME2139_init(void)
{
	HAL_GPIO_WritePin(GPIOC,GPIO_PIN_15,GPIO_PIN_SET);
}

void do_sleep(void)
{
//	if(g_main_battery_voltage >= 3300)  //3.3V 以上时stop模式，正常喂狗.
//	{
//		uint32_t resetTimes = fpe_read(0x005c);
//		uint32_t everyUpdateGpsTimes = fpe_read(0x004c);
//		if (g_main_gps_updated)
//		{
//			resetTimes = 0;
//		}
//		else
//		{
//			if (resetTimes!= UINT32_MAX)
//			{
//				resetTimes++;
//			}
//		}
//
//		everyUpdateGpsTimes = everyUpdateGpsTimes + 1;
//		if(everyUpdateGpsTimes == GPS_INTERVAL_MS/g_main_uploadTime)  //every one day(24h), change everyUpdateGpsTimes from some values to zero(0).
//		{
//			everyUpdateGpsTimes = 0;
//		}
//
//		fpe_write(0x005c,resetTimes);
//		fpe_write(0x004c,everyUpdateGpsTimes);
//
		g_flashStored_Info.gpsNotUpdateCnt++;
		fpe_write(ADDRESS_CNT_GPS_NOUPDATE_TIME, g_flashStored_Info.gpsNotUpdateCnt); // gps notupdate cnt updated by main work interval, 1 time cnt++;

	//	while(1);
		disable_pm2d5();
		sim808_deinit();
	//	while(1);

		HAL_Delay(100);                                       //2015-12-7
//		g_main_end_battery_voltage = g_main_battery_voltage;  //2015-12-7
//		fpe_write(0x008c,g_main_end_battery_voltage);         //2015-12-7
		int resetCount = 0;
		if(g_main_uploadDataInterval>tick_ms())
		{
			resetCount = (g_main_uploadDataInterval - /*(int)*/tick_ms())/1000;        // 上传时间+工作时间=上传间隔
		}
		while (resetCount != 0)
		{
			startAlarm(1);
			HAL_PWR_EnterSTOPMode(PWR_LOWPOWERREGULATOR_ON, PWR_STOPENTRY_WFI);
			//SystemClock_Config();
			//printf("g_main_resetCount = %d\r\n",g_main_resetCount);
			feedExdog();
			resetCount--;
		}
		HAL_NVIC_SystemReset();
//	}
//	else if(g_main_battery_voltage < 3300) //3.3V 以下时进入 standby 模式，最低功耗，放置电池低电压保护.
//	{
//		startAlarm(0x20);
//		HAL_PWR_EnterSTANDBYMode();  //最低功耗.
//		HAL_NVIC_SystemReset();
//	}
}

void check_sleep(void)
{
	if (g_main_startSleep  || tick_ms()>MAX_WAKE_MS || g_main_battery_voltage<RANGE_RUNTIME_BATTERY_LOW)//tickms超过该时间时会自动进入睡眠模式, 即使未完成整个流程.
	{
		if(g_main_battery_voltage < RANGE_RUNTIME_BATTERY_LOW)
		{
			fpe_write(ADDRESS_BATTERY_RANGE,RANGE_START_BATTERY_LOW);  //refer to 'charge code', locating beginning of 'main()'function, about line 169.
		}
		do_sleep();
	}
}

static inline void pm2d5_receive_int(void)
{
//	HAL_UART_Receive_DMA(&huart2,g_main_dustBuffer,sizeof(g_main_dustBuffer));
}

void enable_pm2d5(void)
{

	//there are 2 steps to enablepm2d5. Step1 is for saving electricity: when pm2d5 is not used,we also shut down U301.

	// step1: enable U301(ME2139-5.0) CE port     PC15 port as High.
		//HAL_GPIO_WritePin(GPIOC,GPIO_PIN_15,GPIO_PIN_SET);    //该管脚在单片机上电时就应开启.

	// step2: enable Q801(AO3401 P-MOS)         PA1 port as High.
		HAL_GPIO_WritePin(GPIOA,GPIO_PIN_1,GPIO_PIN_SET);

}

void disable_pm2d5(void)
{
	//ALL port will be closed to save electricity.

	// step1: disable Q801(AO3401 P-MOS)         PA1 port as Low.
		HAL_GPIO_WritePin(GPIOA,GPIO_PIN_1,GPIO_PIN_RESET);

	// step2: disable U301(ME2139-5.0) CE port     PC15 port as Low.
		//HAL_GPIO_WritePin(GPIOC,GPIO_PIN_15,GPIO_PIN_RESET); //该管脚还负责单片机电压供给，不能关.
}

void startAlarm(uint16_t second)
{
	//__PWR_CLK_ENABLE();
	HAL_PWR_EnableBkUpAccess();

  RTC_TimeTypeDef sTime;
  RTC_DateTypeDef sDate;
  RTC_AlarmTypeDef sAlarm;

  sTime.Hours = 0;
  sTime.Minutes = 0;
  sTime.Seconds = 0;
  sTime.SubSeconds = 0;
  sTime.TimeFormat = RTC_HOURFORMAT12_AM;
  sTime.DayLightSaving = RTC_DAYLIGHTSAVING_NONE;
  sTime.StoreOperation = RTC_STOREOPERATION_RESET;
  HAL_RTC_SetTime(&hrtc, &sTime, FORMAT_BIN);

  sDate.WeekDay = RTC_WEEKDAY_MONDAY;
  sDate.Month = RTC_MONTH_JANUARY;
  sDate.Date = 0;
  sDate.Year = 0;
  HAL_RTC_SetDate(&hrtc, &sDate, FORMAT_BIN);

    /**Enable the Alarm A
    */
  sAlarm.AlarmTime.Hours = 0;
  sAlarm.AlarmTime.Minutes = 0;
  sAlarm.AlarmTime.Seconds = second;
  sAlarm.AlarmTime.SubSeconds = 0;
  sAlarm.AlarmTime.TimeFormat = RTC_HOURFORMAT12_AM;
  sAlarm.AlarmTime.DayLightSaving = RTC_DAYLIGHTSAVING_NONE;
  sAlarm.AlarmTime.StoreOperation = RTC_STOREOPERATION_RESET;
  sAlarm.AlarmMask = RTC_ALARMMASK_DATEWEEKDAY;
  sAlarm.AlarmSubSecondMask = RTC_ALARMSUBSECONDMASK_ALL;
  sAlarm.AlarmDateWeekDaySel = RTC_ALARMDATEWEEKDAYSEL_WEEKDAY;
  sAlarm.AlarmDateWeekDay = RTC_WEEKDAY_MONDAY;
  sAlarm.Alarm = RTC_ALARM_A;
  HAL_RTC_SetAlarm_IT(&hrtc, &sAlarm, FORMAT_BIN);
}

void feedExdog(void)
{
	HAL_GPIO_TogglePin(GPIOF,GPIO_PIN_1);
}

#define ADCDATASIZE 8

__IO bool g_main_adc_cplt = false;
void HAL_ADC_ConvCpltCallback(ADC_HandleTypeDef* hadc)
{
	g_main_adc_cplt = true;
}

void battery_update(void)
{
//	HAL_Delay(100);
	uint16_t adcData[ADCDATASIZE]={0};
	HAL_ADCEx_Calibration_Start(&hadc);
	g_main_adc_cplt = false;
	HAL_ADC_Start_DMA(&hadc,(uint32_t*)adcData,ADCDATASIZE);
	uint32_t stopTick = tick_ms() + 100;
	while (!g_main_adc_cplt)
	{
		if (tick_ms()-stopTick < (UINT32_MAX>>1))
		{
			break;
		}
	}
//	HAL_Delay(100);

//there 'i<1' meams we just collect once everytime 'ADCread()' is	called,------
//-------for minimal time to let thread 'thread_quickAdd(ADCread)' run regulaly.
	uint32_t sum=0;
	for (int i = 0; i<ADCDATASIZE; i++)
	{
		sum += adcData[i];
//			usart_printf(&huart1,"voltage is %d\r\n",aResultDMA);
	}

	g_main_battery_voltage = (float)(sum*6600.0)/4096.0/ADCDATASIZE;
//voltage'unit is 'mV',which reasonable range is '3000mV' to '4200mV'.

//this printf just wants to test wether thread 'thread_quickAdd(ADCread)' run regulaly or not.
//	printf("voltage of battery is %5.2f mV.\r\n",g_main_battery_voltage);
}

typedef struct
{
	uint8_t H0_rH;
	uint8_t H1_rH;
	int16_t H0_T0_out;
	int16_t H1_T0_out;

	uint16_t	T0_degC;
	uint16_t	T1_degC;
	int16_t T0_out;
	int16_t T1_out;

	int16_t T_out;
	int16_t H_out;
}hts221_t;

hts221_t hts221_var;
//#define TH_I2C_ADDRESS 0xe0
#define ST_I2C_ADDRESS 0xBE

static void hts221_enable(void)
{
//	while(HAL_GPIO_ReadPin(GPIOB,GPIO_PIN_12) == RESET)
//	{
		HAL_GPIO_WritePin(GPIOB,GPIO_PIN_12,GPIO_PIN_SET);
//	}
}

static void hts221_disable(void)
{
	HAL_GPIO_WritePin(GPIOB,GPIO_PIN_12,GPIO_PIN_RESET);
}

void hts221_init(void)
{
	uint8_t setupBytes[] = {0x81};
	uint8_t sendBytes[] = {0xB0};
	uint8_t retries = 3;
	while(retries>0)
	{
		if	(HAL_I2C_Mem_Write(&hi2c2,ST_I2C_ADDRESS,0x20,I2C_MEMADD_SIZE_8BIT, setupBytes,sizeof(setupBytes),15)==HAL_OK)
		{
		//	HAL_Delay(10);
			if (HAL_I2C_Master_Transmit(&hi2c2,ST_I2C_ADDRESS,sendBytes,sizeof(sendBytes),30) == HAL_OK)
			{

				uint8_t receiveBytes[16]= {0};
				memset(receiveBytes,0xff,16);
			//	HAL_Delay(10);
				if (HAL_I2C_Master_Receive(&hi2c2,ST_I2C_ADDRESS,receiveBytes,sizeof(receiveBytes),15) == HAL_OK)
				{
					hts221_var.T0_degC = (receiveBytes[2] | ((uint16_t)receiveBytes[5] & 0x03 )<<8)>>3;
					hts221_var.T1_degC = (receiveBytes[3] | ((uint16_t)receiveBytes[5] & 0x0C )<<6)>>3;
					hts221_var.T0_out = receiveBytes[12] | ((uint16_t)receiveBytes[13]<<8 );
					hts221_var.T1_out = receiveBytes[14] | ((uint16_t)receiveBytes[15]<<8 );

					hts221_var.H0_rH = receiveBytes[0]>>1;
					hts221_var.H1_rH = receiveBytes[1]>>1;
					hts221_var.H0_T0_out = receiveBytes[6] | ((uint16_t)receiveBytes[7]<<8 );
					hts221_var.H1_T0_out = receiveBytes[10] | ((uint16_t)receiveBytes[11]<<8 );
					break;
				}
			}
		}
		retries--;
	}
}

void th_check_end(void)
{
	uint8_t receiveBytes[5]= {0};
	memset(receiveBytes,0xff,5);
	if (HAL_I2C_Master_Receive(&hi2c2,ST_I2C_ADDRESS,receiveBytes,sizeof(receiveBytes),15) == HAL_OK)
	{
		if (receiveBytes[0]==0x03)//check data ready register   receiveBytes[0]==0x03
		{
			hts221_var.T_out = ((int16_t)receiveBytes[4] << 8) + ((int16_t)receiveBytes[3] ); //actual temperature before calibration
			__IO double slope = ( hts221_var.T0_degC*1.0 - hts221_var.T1_degC)/(hts221_var.T0_out - hts221_var.T1_out); //slope of temp calibration line
			__IO double intercept = hts221_var.T0_degC - slope * hts221_var.T0_out ; 							//intercept of temp calibration line
			g_main_temperature = slope * hts221_var.T_out + intercept; 														//actual temperature
			hts221_var.H_out = ((int16_t)receiveBytes[2] << 8) + ((int16_t)receiveBytes[1] );//actual humidity before calibration
			slope = ( hts221_var.H0_rH*1.0 - hts221_var.H1_rH)/(hts221_var.H0_T0_out - hts221_var.H1_T0_out);//slope of humi calibration line
			intercept = hts221_var.H0_rH - slope * hts221_var.H0_T0_out;										//intercept of humi calibration line
			g_main_humidity = fmin(99,fmax(0,slope * hts221_var.H_out + intercept)*1.45);   //*1.35

			if (g_main_temperature>15)
			{
				g_main_temperature = 15+ (g_main_temperature-15)*0.7;
			}

//			g_main_temperature = 666; //test.
//			g_main_humidity = 666; //test.
		}
	}

}

void th_update(void)
{
	uint8_t sendBytes2[] = {0xA7};//ST
	if (HAL_I2C_Master_Transmit(&hi2c2,ST_I2C_ADDRESS,sendBytes2,sizeof(sendBytes2),30) == HAL_OK)
	{
		delayCall_call(th_check_end,30,1,0);
	}
}

/* USER CODE END 4 */

/************************ (C) COPYRIGHT STMicroelectronics *****END OF FILE****/
